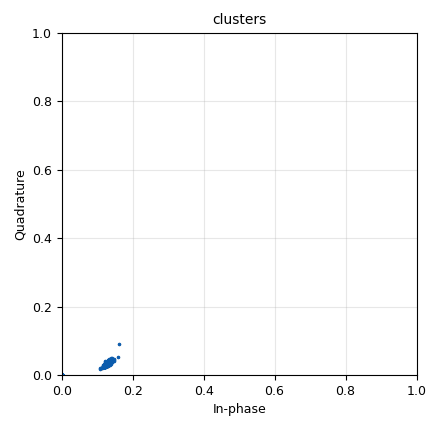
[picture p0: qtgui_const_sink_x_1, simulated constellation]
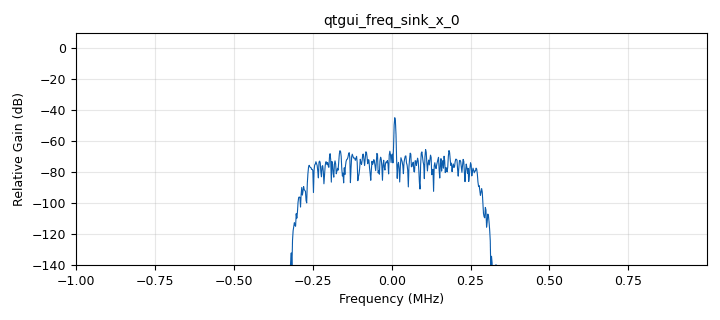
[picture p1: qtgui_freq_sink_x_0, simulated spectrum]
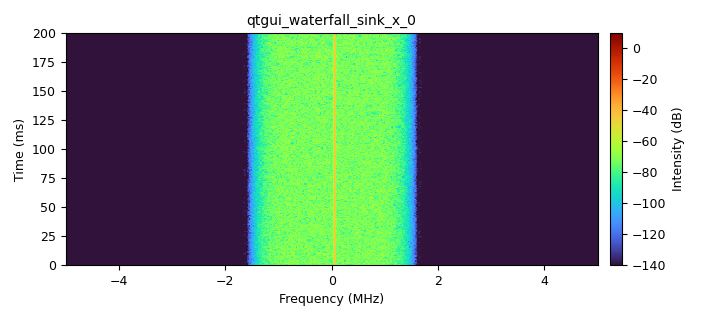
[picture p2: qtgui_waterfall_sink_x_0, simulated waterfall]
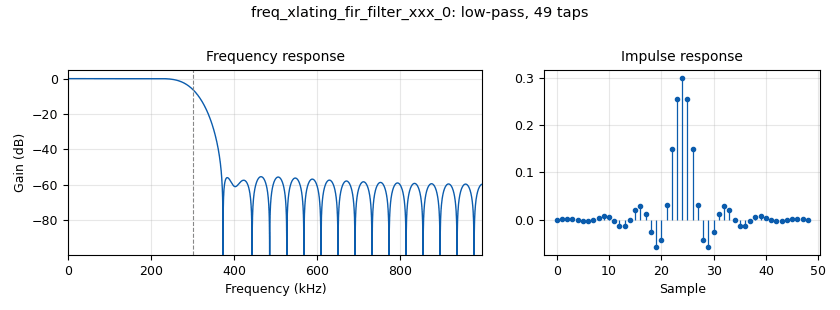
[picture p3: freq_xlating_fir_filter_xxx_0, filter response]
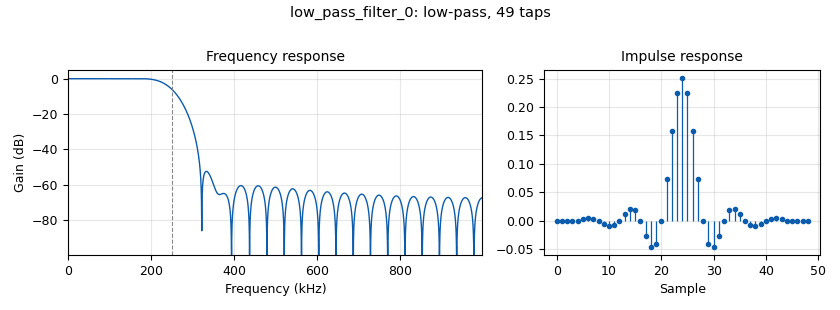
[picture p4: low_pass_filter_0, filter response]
options:
  parameters:
    generate_options: qt_gui
    id: drone_signal_simulation_v1
    output_language: python
    title: Not titled yet
  states: {}

blocks:
- name: SNR_dB
  id: variable
  parameters:
    value: '10'
  states: {}
- name: samp_rate
  id: variable
  parameters:
    value: 2e6
  states: {}
- name: GMSKDETECTOR
  id: qtgui_number_sink
  parameters:
    graph_type: qtgui.NUM_GRAPH_NONE
    name: '"0 - BRUIT 1 - AM 2 FSK - 3 GMSK"'
    type: float
  states: {}
- name: analog_noise_source_x_0
  id: analog_noise_source_x
  parameters:
    amp: '1e-7'
    noise_type: analog.GR_GAUSSIAN
    seed: '0'
    type: complex
  states: {state: disabled}
- name: analog_noise_source_x_1
  id: analog_noise_source_x
  parameters:
    amp: '1'
    noise_type: analog.GR_GAUSSIAN
    seed: '0'
    type: complex
  states: {state: disabled}
- name: analog_noise_source_x_1_0
  id: analog_noise_source_x
  parameters:
    amp: '1'
    noise_type: analog.GR_GAUSSIAN
    seed: '0'
    type: complex
  states: {}
- name: analog_random_source_x_0
  id: analog_random_source_x
  parameters:
    max: '4'
    min: '0'
    num_samps: '1000'
    repeat: 'True'
    type: byte
  states: {state: disabled}
- name: analog_sig_source_x_0
  id: analog_sig_source_x
  parameters:
    amp: '1'
    freq: '100'
    offset: '0'
    phase: '0'
    samp_rate: samp_rate
    type: complex
    waveform: analog.GR_COS_WAVE
  states: {}
- name: analog_sig_source_x_0_0
  id: analog_sig_source_x
  parameters:
    amp: '1'
    freq: '10000'
    offset: '0'
    phase: '0'
    samp_rate: samp_rate
    type: complex
    waveform: analog.GR_COS_WAVE
  states: {}
- name: average_emitted_power
  id: qtgui_number_sink
  parameters:
    graph_type: qtgui.NUM_GRAPH_NONE
    name: '"average_emitted_power_amplitude"'
    type: float
  states: {}
- name: blocks_add_xx_0
  id: blocks_add_xx
  parameters:
    type: complex
  states: {state: disabled}
- name: blocks_add_xx_1
  id: blocks_add_xx
  parameters:
    type: complex
  states: {}
- name: blocks_char_to_float_0
  id: blocks_char_to_float
  parameters:
    scale: '1'
  states: {state: disabled}
- name: blocks_complex_to_mag_squared_0
  id: blocks_complex_to_mag_squared
  parameters: {}
  states: {}
- name: blocks_moving_average_xx_0
  id: blocks_moving_average_xx
  parameters:
    length: '1000'
    max_iter: '4000'
    scale: '1'
    type: float
  states: {}
- name: blocks_multiply_const_vxx_0
  id: blocks_multiply_const_vxx
  parameters:
    const: '0.016'
    type: complex
  states: {}
- name: blocks_multiply_const_vxx_1
  id: blocks_multiply_const_vxx
  parameters:
    const: '0.0001'
    type: complex
  states: {state: disabled}
- name: blocks_multiply_xx_0
  id: blocks_multiply_xx
  parameters:
    type: complex
  states: {}
- name: blocks_throttle2_0
  id: blocks_throttle2
  parameters:
    samples_per_second: 32e3
    type: complex
  states: {}
- name: blocks_unpacked_to_packed_xx_0
  id: blocks_unpacked_to_packed_xx
  parameters:
    bits_per_chunk: '1'
    endianness: gr.GR_MSB_FIRST
    type: byte
  states: {state: disabled}
- name: blocks_unpacked_to_packed_xx_1
  id: blocks_unpacked_to_packed_xx
  parameters:
    bits_per_chunk: '8'
    endianness: gr.GR_MSB_FIRST
    type: byte
  states: {state: disabled}
- name: blocks_vector_source_x_0
  id: blocks_vector_source_x
  parameters:
    repeat: 'True'
    type: byte
    vector: (1, 0, 1, 0)
  states: {state: disabled}
- name: digital_gfsk_mod_0
  id: digital_gfsk_mod
  parameters:
    bt: '10'
    samples_per_symbol: '4'
    sensitivity: '1.0'
  states: {state: disabled}
- name: digital_gmsk_demod_0
  id: digital_gmsk_demod
  parameters:
    freq_error: '0.0'
    gain_mu: '0.175'
    mu: '0.5'
    omega_relative_limit: '0.005'
    samples_per_symbol: '4'
  states: {state: disabled}
- name: digital_gmsk_mod_0
  id: digital_gmsk_mod
  parameters:
    bt: '0.35'
    samples_per_symbol: '4'
  states: {state: disabled}
- name: epy_block_1
  id: epy_block
  parameters:
    _source_code: |
      import numpy as np
      from gnuradio import gr


      class blk(gr.sync_block):

          def __init__(self,
                       window_size=500,
                       scatter_size=1024):

              gr.sync_block.__init__(
                  self,
                  name="Classifier + Scatter Persistence FIXED",
                  in_sig=[np.complex64],
                  out_sig=[np.float32, np.complex64]
              )

              self.window_size = window_size
              self.scatter_size = scatter_size

              # buffer IQ
              self.buf = np.zeros(window_size, dtype=np.complex64)
              self.idx = 0

              # buffer scatter
              self.scatter_buffer = np.zeros(scatter_size, dtype=np.complex64)
              self.scatter_idx = 0
              self.read_idx = 0   # 🔥 FIX IMPORTANT

              # centres
              self.centers = {
                  1: np.array([0.03, 0.00]),   # AM
                  3: np.array([0.25, 0.08]),   # GMSK
                  0: np.array([0.45, 0.40]),   # NOISE
                  2: np.array([0.63, 0.90])    # FSK
              }

              self.label = 0.0
              self.last_point = complex(0, 0)

          def work(self, input_items, output_items):

              x = input_items[0]
              y_label = output_items[0]
              y_scatter = output_items[1]

              for i in range(len(x)):

                  # -------------------------
                  # BUFFER IQ
                  # -------------------------
                  self.buf[self.idx] = x[i]
                  self.idx += 1

                  if self.idx >= self.window_size:
                      self.idx = 0

                      # -------------------------
                      # NORMALISATION
                      # -------------------------
                      power = np.mean(np.abs(self.buf)**2)
                      buf_norm = self.buf / np.sqrt(power + 1e-12)

                      # -------------------------
                      # FEATURES
                      # -------------------------
                      phase = np.unwrap(np.angle(buf_norm))
                      dphase = np.diff(phase)

                      mean_dphi = np.mean(np.abs(dphase))
                      var_dphi = np.var(dphase)

                      self.last_point = complex(mean_dphi, var_dphi)

                      # -------------------------
                      # CLASSIFICATION
                      # -------------------------
                      min_dist = 1e9
                      best_label = 0

                      for lbl, center in self.centers.items():
                          dist = np.linalg.norm(
                              np.array([mean_dphi, var_dphi]) - center
                          )
                          if dist < min_dist:
                              min_dist = dist
                              best_label = lbl

                      self.label = float(best_label)

                      # -------------------------
                      # AJOUT AU BUFFER
                      # -------------------------
                      self.scatter_buffer[self.scatter_idx] = self.last_point
                      self.scatter_idx = (self.scatter_idx + 1) % self.scatter_size

                      print(f"dphi={mean_dphi:.3f}, var={var_dphi:.3f}, label={self.label}")

                  # -------------------------
                  # SORTIE LABEL
                  # -------------------------
                  y_label[i] = self.label

                  # -------------------------
                  # SORTIE SCATTER (FIX)
                  # -------------------------
                  y_scatter[i] = self.scatter_buffer[self.read_idx]
                  self.read_idx = (self.read_idx + 1) % self.scatter_size

              return len(y_label)
    scatter_size: '1024'
    window_size: '1000'
  states: {}
- name: freq_xlating_fir_filter_xxx_0
  id: freq_xlating_fir_filter_xxx
  parameters:
    center_freq: '0'
    decim: '1'
    samp_rate: samp_rate
    taps: firdes.low_pass(1,2e6,300e3,100e3)
    type: ccc
  states: {}
- name: low_pass_filter_0
  id: low_pass_filter
  parameters:
    cutoff_freq: 250e3
    decim: '1'
    gain: '1'
    samp_rate: samp_rate
    type: fir_filter_ccf
    width: 100e3
    win: window.WIN_HAMMING
  states: {}
- name: low_pass_filter_1
  id: low_pass_filter
  parameters:
    cutoff_freq: 300e3
    decim: '1'
    gain: '1'
    samp_rate: samp_rate
    type: fir_filter_ccf
    width: 100e3
    win: window.WIN_HAMMING
  states: {state: disabled}
- name: qtgui_const_sink_x_0
  id: qtgui_const_sink_x
  parameters:
    size: '1024'
    type: complex
  states: {state: disabled}
- name: qtgui_const_sink_x_1
  id: qtgui_const_sink_x
  parameters:
    grid: 'True'
    name: '"clusters"'
    size: '2048'
    type: complex
    update_time: '0.0010'
    xmax: '1'
    xmin: '0'
    ymax: '1'
    ymin: '0'
  states: {}
- name: qtgui_eye_sink_x_0
  id: qtgui_eye_sink_x
  parameters:
    samp_per_symbol: '4'
    size: '1024'
    srate: samp_rate
    type: complex
  states: {state: disabled}
- name: qtgui_freq_sink_x_0
  id: qtgui_freq_sink_x
  parameters:
    bw: samp_rate
    fc: '0'
    fftsize: '1024'
    type: complex
  states: {}
- name: qtgui_freq_sink_x_0_0
  id: qtgui_freq_sink_x
  parameters:
    bw: samp_rate
    fc: '0'
    fftsize: '1024'
    type: complex
  states: {state: disabled}
- name: qtgui_time_sink_x_0
  id: qtgui_time_sink_x
  parameters:
    size: '1024'
    srate: samp_rate
    type: float
  states: {state: disabled}
- name: qtgui_waterfall_sink_x_0
  id: qtgui_waterfall_sink_x
  parameters:
    bw: 10e6
    fc: '0'
    fftsize: '1024'
    type: complex
  states: {}

connections:
- [analog_noise_source_x_0, '0', blocks_add_xx_0, '1']
- [analog_noise_source_x_1, '0', blocks_throttle2_0, '0']
- [analog_noise_source_x_1_0, '0', blocks_add_xx_1, '0']
- [analog_random_source_x_0, '0', blocks_unpacked_to_packed_xx_0, '0']
- [analog_sig_source_x_0, '0', blocks_multiply_xx_0, '0']
- [analog_sig_source_x_0_0, '0', blocks_multiply_xx_0, '1']
- [blocks_add_xx_0, '0', qtgui_freq_sink_x_0_0, '0']
- [blocks_add_xx_1, '0', blocks_throttle2_0, '0']
- [blocks_char_to_float_0, '0', qtgui_time_sink_x_0, '0']
- [blocks_complex_to_mag_squared_0, '0', blocks_moving_average_xx_0, '0']
- [blocks_moving_average_xx_0, '0', average_emitted_power, '0']
- [blocks_multiply_const_vxx_0, '0', blocks_complex_to_mag_squared_0, '0']
- [blocks_multiply_const_vxx_0, '0', blocks_multiply_const_vxx_1, '0']
- [blocks_multiply_const_vxx_0, '0', digital_gmsk_demod_0, '0']
- [blocks_multiply_const_vxx_0, '0', epy_block_1, '0']
- [blocks_multiply_const_vxx_0, '0', low_pass_filter_1, '0']
- [blocks_multiply_const_vxx_0, '0', qtgui_eye_sink_x_0, '0']
- [blocks_multiply_const_vxx_0, '0', qtgui_freq_sink_x_0, '0']
- [blocks_multiply_const_vxx_0, '0', qtgui_waterfall_sink_x_0, '0']
- [blocks_multiply_const_vxx_1, '0', blocks_add_xx_0, '0']
- [blocks_multiply_xx_0, '0', blocks_add_xx_1, '1']
- [blocks_throttle2_0, '0', low_pass_filter_0, '0']
- [blocks_unpacked_to_packed_xx_0, '0', digital_gfsk_mod_0, '0']
- [blocks_unpacked_to_packed_xx_0, '0', digital_gmsk_mod_0, '0']
- [blocks_unpacked_to_packed_xx_1, '0', blocks_char_to_float_0, '0']
- [blocks_vector_source_x_0, '0', blocks_unpacked_to_packed_xx_0, '0']
- [digital_gfsk_mod_0, '0', blocks_add_xx_1, '1']
- [digital_gmsk_demod_0, '0', blocks_unpacked_to_packed_xx_1, '0']
- [digital_gmsk_mod_0, '0', blocks_add_xx_1, '1']
- [digital_gmsk_mod_0, '0', qtgui_const_sink_x_0, '0']
- [epy_block_1, '0', GMSKDETECTOR, '0']
- [epy_block_1, '1', qtgui_const_sink_x_1, '0']
- [freq_xlating_fir_filter_xxx_0, '0', blocks_multiply_const_vxx_0, '0']
- [low_pass_filter_0, '0', freq_xlating_fir_filter_xxx_0, '0']
- [low_pass_filter_1, '0', epy_block_1, '0']

metadata:
  file_format: 1
  grc_version: 3.10.11.0
